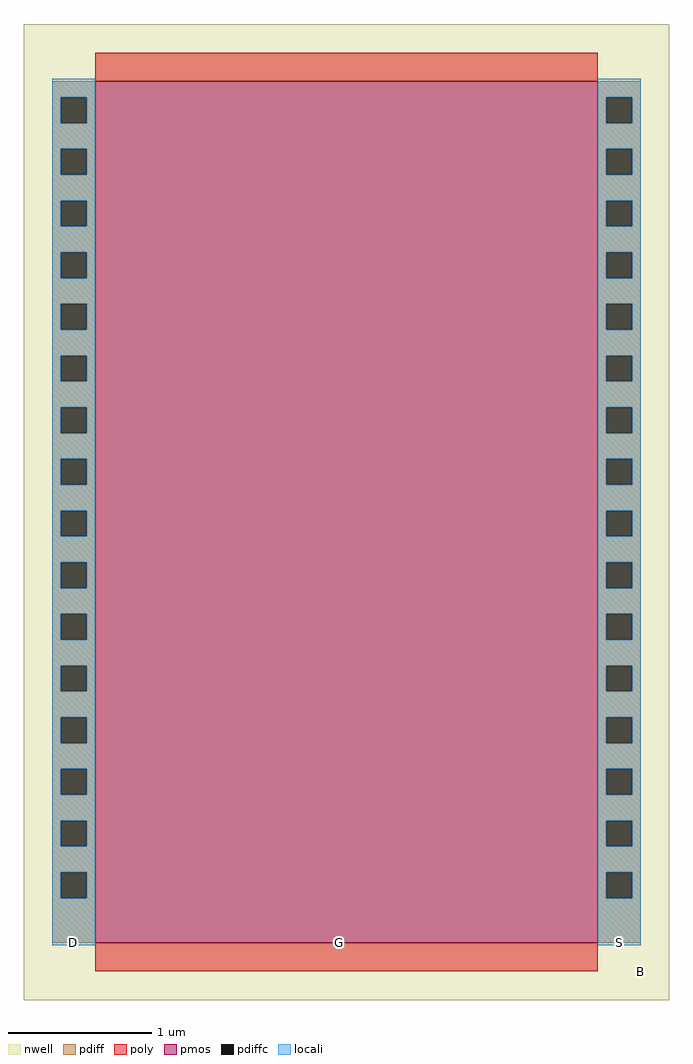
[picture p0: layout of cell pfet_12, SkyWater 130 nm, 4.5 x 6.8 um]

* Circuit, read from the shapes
.subckt pfet_12 B D G S
XM1 S G D B sky130_fd_pr__pfet_01v8 w=6 l=3.5
.ends

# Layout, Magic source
magic
tech sky130A
<< nwell >>
rect 0 0 450 680
<< pmos >>
rect 50 40 400 640
<< pdiff >>
rect 20 629 50 640
rect 20 611 26 629
rect 44 611 50 629
rect 20 593 50 611
rect 20 575 26 593
rect 44 575 50 593
rect 20 557 50 575
rect 20 539 26 557
rect 44 539 50 557
rect 20 521 50 539
rect 20 503 26 521
rect 44 503 50 521
rect 20 485 50 503
rect 20 467 26 485
rect 44 467 50 485
rect 20 449 50 467
rect 20 431 26 449
rect 44 431 50 449
rect 20 413 50 431
rect 20 395 26 413
rect 44 395 50 413
rect 20 377 50 395
rect 20 359 26 377
rect 44 359 50 377
rect 20 341 50 359
rect 20 323 26 341
rect 44 323 50 341
rect 20 305 50 323
rect 20 287 26 305
rect 44 287 50 305
rect 20 269 50 287
rect 20 251 26 269
rect 44 251 50 269
rect 20 233 50 251
rect 20 215 26 233
rect 44 215 50 233
rect 20 197 50 215
rect 20 179 26 197
rect 44 179 50 197
rect 20 161 50 179
rect 20 143 26 161
rect 44 143 50 161
rect 20 125 50 143
rect 20 107 26 125
rect 44 107 50 125
rect 20 89 50 107
rect 20 71 26 89
rect 44 71 50 89
rect 20 40 50 71
rect 400 629 430 640
rect 400 611 406 629
rect 424 611 430 629
rect 400 593 430 611
rect 400 575 406 593
rect 424 575 430 593
rect 400 557 430 575
rect 400 539 406 557
rect 424 539 430 557
rect 400 521 430 539
rect 400 503 406 521
rect 424 503 430 521
rect 400 485 430 503
rect 400 467 406 485
rect 424 467 430 485
rect 400 449 430 467
rect 400 431 406 449
rect 424 431 430 449
rect 400 413 430 431
rect 400 395 406 413
rect 424 395 430 413
rect 400 377 430 395
rect 400 359 406 377
rect 424 359 430 377
rect 400 341 430 359
rect 400 323 406 341
rect 424 323 430 341
rect 400 305 430 323
rect 400 287 406 305
rect 424 287 430 305
rect 400 269 430 287
rect 400 251 406 269
rect 424 251 430 269
rect 400 233 430 251
rect 400 215 406 233
rect 424 215 430 233
rect 400 197 430 215
rect 400 179 406 197
rect 424 179 430 197
rect 400 161 430 179
rect 400 143 406 161
rect 424 143 430 161
rect 400 125 430 143
rect 400 107 406 125
rect 424 107 430 125
rect 400 89 430 107
rect 400 71 406 89
rect 424 71 430 89
rect 400 40 430 71
<< pdiffc >>
rect 26 611 44 629
rect 26 575 44 593
rect 26 539 44 557
rect 26 503 44 521
rect 26 467 44 485
rect 26 431 44 449
rect 26 395 44 413
rect 26 359 44 377
rect 26 323 44 341
rect 26 287 44 305
rect 26 251 44 269
rect 26 215 44 233
rect 26 179 44 197
rect 26 143 44 161
rect 26 107 44 125
rect 26 71 44 89
rect 406 611 424 629
rect 406 575 424 593
rect 406 539 424 557
rect 406 503 424 521
rect 406 467 424 485
rect 406 431 424 449
rect 406 395 424 413
rect 406 359 424 377
rect 406 323 424 341
rect 406 287 424 305
rect 406 251 424 269
rect 406 215 424 233
rect 406 179 424 197
rect 406 143 424 161
rect 406 107 424 125
rect 406 71 424 89
<< poly >>
rect 50 640 400 660
rect 50 20 400 40
<< locali >>
rect 20 629 50 642
rect 20 611 26 629
rect 44 611 50 629
rect 20 593 50 611
rect 20 575 26 593
rect 44 575 50 593
rect 20 557 50 575
rect 20 539 26 557
rect 44 539 50 557
rect 20 521 50 539
rect 20 503 26 521
rect 44 503 50 521
rect 20 485 50 503
rect 20 467 26 485
rect 44 467 50 485
rect 20 449 50 467
rect 20 431 26 449
rect 44 431 50 449
rect 20 413 50 431
rect 20 395 26 413
rect 44 395 50 413
rect 20 377 50 395
rect 20 359 26 377
rect 44 359 50 377
rect 20 341 50 359
rect 20 323 26 341
rect 44 323 50 341
rect 20 305 50 323
rect 20 287 26 305
rect 44 287 50 305
rect 20 269 50 287
rect 20 251 26 269
rect 44 251 50 269
rect 20 233 50 251
rect 20 215 26 233
rect 44 215 50 233
rect 20 197 50 215
rect 20 179 26 197
rect 44 179 50 197
rect 20 161 50 179
rect 20 143 26 161
rect 44 143 50 161
rect 20 125 50 143
rect 20 107 26 125
rect 44 107 50 125
rect 20 89 50 107
rect 20 71 26 89
rect 44 71 50 89
rect 20 38 50 71
rect 400 629 430 642
rect 400 611 406 629
rect 424 611 430 629
rect 400 593 430 611
rect 400 575 406 593
rect 424 575 430 593
rect 400 557 430 575
rect 400 539 406 557
rect 424 539 430 557
rect 400 521 430 539
rect 400 503 406 521
rect 424 503 430 521
rect 400 485 430 503
rect 400 467 406 485
rect 424 467 430 485
rect 400 449 430 467
rect 400 431 406 449
rect 424 431 430 449
rect 400 413 430 431
rect 400 395 406 413
rect 424 395 430 413
rect 400 377 430 395
rect 400 359 406 377
rect 424 359 430 377
rect 400 341 430 359
rect 400 323 406 341
rect 424 323 430 341
rect 400 305 430 323
rect 400 287 406 305
rect 424 287 430 305
rect 400 269 430 287
rect 400 251 406 269
rect 424 251 430 269
rect 400 233 430 251
rect 400 215 406 233
rect 424 215 430 233
rect 400 197 430 215
rect 400 179 406 197
rect 424 179 430 197
rect 400 161 430 179
rect 400 143 406 161
rect 424 143 430 161
rect 400 125 430 143
rect 400 107 406 125
rect 424 107 430 125
rect 400 89 430 107
rect 400 71 406 89
rect 424 71 430 89
rect 400 38 430 71
<< labels >>
rlabel locali 35 40 35 40 1 D
rlabel poly 220 40 220 40 1 G
rlabel locali 415 40 415 40 1 S
rlabel nwell 430 20 430 20 1 B
<< end >>
